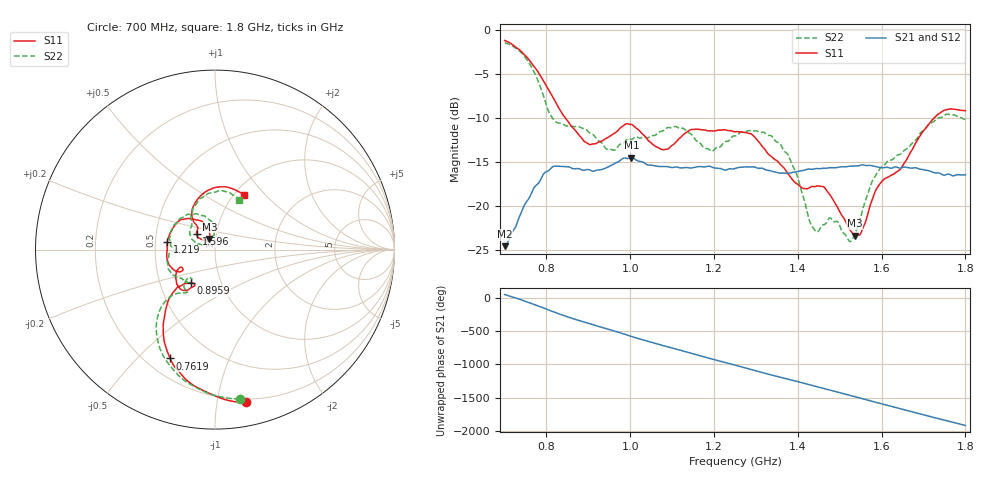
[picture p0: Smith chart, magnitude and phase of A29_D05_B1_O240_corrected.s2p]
! Created with skrf 1.9.0 (http://scikit-rf.org).
# Hz S RI R 50.0
!freq ReS11 ImS11 ReS21 ImS21 ReS12 ImS12 ReS22 ImS22
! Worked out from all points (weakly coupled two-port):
!   1601 points, 700 MHz to 1.8 GHz, reference 50 ohm
!   highest |S21| = -14.54 dB at 1.002 GHz (marker M1); lowest = -24.6 dB at 700 MHz (marker M2)
!   lowest |S11| = -23.4 dB at 1.536 GHz (marker M3), VSWR 1.14, Z = 46.7 + j5.62 ohm
!   |S11| at or under -10 dB: 844.4 MHz to 1.726 GHz (881.5 MHz wide, 68.6 % of centre)
!   |S22| runs from -24.1 to -1.5 dB; largest |S21 - S12| = 0.0035
!   S11 on the Smith chart (normalised r, x): 700 MHz: 0.17, -1.21; 761.9 MHz: 0.29, -0.63; 895.9 MHz: 0.72, -0.28; 1.219 GHz: 0.58, +0.05; 1.596 GHz: 0.80, +0.14; 1.8 GHz: 1.11, +0.77
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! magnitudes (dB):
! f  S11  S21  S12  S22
! 700 MHz  -1.2  -24.6  -24.4  -1.5
! 761.9 MHz  -3.7  -18.8  -18.8  -4.1
! 816.2 MHz  -7.8  -15.6  -15.6  -10.2
! 883.6 MHz  -12.3  -15.9  -15.8  -11.2
! 895.9 MHz  -12.8  -15.9  -16.0  -11.4
! 946.8 MHz  -12.2  -15.6  -15.6  -13.6
! 1.002 GHz  -10.8  -14.5  -14.6  -12.5
! 1.067 GHz  -13.4  -15.5  -15.5  -11.7
! 1.108 GHz  -12.8  -15.6  -15.6  -11.0
! 1.192 GHz  -11.5  -15.6  -15.6  -13.7
! 1.219 GHz  -11.4  -15.8  -15.9  -13.1
! 1.25 GHz  -11.6  -15.8  -15.7  -12.1
! 1.357 GHz  -15.3  -16.3  -16.3  -12.9
! 1.396 GHz  -17.4  -16.2  -16.1  -16.2
! 1.434 GHz  -17.8  -15.9  -15.8  -22.3
! 1.465 GHz  -18.0  -15.8  -15.7  -22.1
! 1.536 GHz  -23.4  -15.5  -15.5  -23.3
! 1.552 GHz  -22.9  -15.4  -15.4  -20.9
! 1.596 GHz  -17.5  -15.7  -15.6  -15.8
! 1.617 GHz  -16.7  -15.7  -15.6  -14.8
! 1.733 GHz  -9.7  -16.3  -16.3  -10.1
! 1.8 GHz  -9.2  -16.5  -16.5  -10.2
